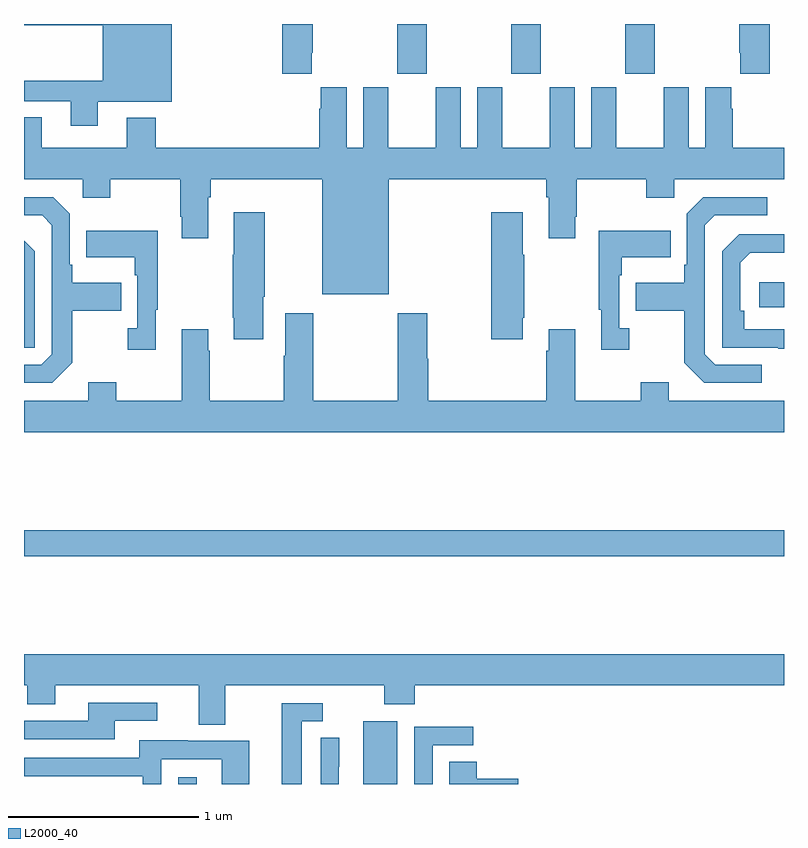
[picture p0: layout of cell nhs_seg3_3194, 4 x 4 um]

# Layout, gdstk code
import gdstk
lib = gdstk.Library(unit=1e-6, precision=1e-09)
def R(c, l, rs):  # rectangles x0, y0, x1, y1
    for r in rs: c.add(gdstk.rectangle(r[:2], r[2:], *l))
def A(c, l, x, y, w, h, nx, ny, dx, dy):  # array of equal rectangles
    R(c, l, [(x+i*dx, y+j*dy, x+i*dx+w, y+j*dy+h) for i in range(nx) for j in range(ny)])
def P(c, l, *ps):  # polygons
    for p in ps: c.add(gdstk.Polygon(p, *l))
L2000_40 = (2000, 40)

nhs_seg3_3194 = lib.new_cell('nhs_seg3_3194')
A(nhs_seg3_3194, L2000_40, 278.965, 700.137, 0.155, 0.263, 3, 1, 0.6, 0)
R(nhs_seg3_3194, L2000_40, [(277.812,696.4,277.909,696.436), (278.786,696.4,278.965,696.73), (277,697.6,281,697.736), (280.869,698.91,281,699.04)])
P(nhs_seg3_3194, L2000_40, [(277.387,699.992),(277.777,699.992),(277.777,700.4),(277,700.4),(277,700.394),(277.415,700.394),(277.415,700.102),(277,700.102),(277,699.993),(277.247,699.993),(277.247,699.864),(277.387,699.864)],
  [(278.515,700.249),(278.52,700.249),(278.52,700.4),(278.36,700.4),(278.36,700.137),(278.515,700.137)],
  [(280.925,700.4),(280.765,700.4),(280.765,700.249),(280.769,700.249),(280.769,700.137),(280.925,700.137)],
  [(278.92,699.584),(279.749,699.584),(279.749,699.488),(279.761,699.488),(279.761,699.273),(279.901,699.273),(279.901,699.385),(279.909,699.385),(279.909,699.584),(280.276,699.584),(280.276,699.485),(280.422,699.485),(280.422,699.584),(281,699.584),(281,699.748),(280.73,699.748),(280.73,699.953),(280.723,699.953),(280.723,700.066),(280.586,700.066),(280.586,699.748),(280.498,699.748),(280.498,700.066),(280.367,700.066),(280.367,699.748),(280.117,699.748),(280.117,700.066),(279.986,700.066),(279.986,699.748),(279.898,699.748),(279.898,700.066),(279.767,700.066),(279.767,699.748),(279.517,699.748),(279.517,700.066),(279.386,700.066),(279.386,699.748),(279.298,699.748),(279.298,700.066),(279.167,700.066),(279.167,699.748),(278.917,699.748),(278.917,700.066),(278.786,700.066),(278.786,699.748),(278.698,699.748),(278.698,700.066),(278.561,700.066),(278.561,699.953),(278.555,699.953),(278.555,699.748),(277.694,699.748),(277.694,699.907),(277.541,699.907),(277.541,699.748),(277.093,699.748),(277.093,699.908),(277,699.908),(277,699.584),(277.308,699.584),(277.308,699.485),(277.455,699.485),(277.455,699.584),(277.822,699.584),(277.822,699.385),(277.829,699.385),(277.829,699.273),(277.969,699.273),(277.969,699.488),(277.982,699.488),(277.982,699.584),(278.57,699.584),(278.57,698.978),(278.92,698.978)],
  [(280.882,698.607),(280.638,698.607),(280.584,698.661),(280.584,699.342),(280.635,699.393),(280.912,699.393),(280.912,699.489),(280.575,699.489),(280.488,699.402),(280.488,699.133),(280.476,699.133),(280.476,699.037),(280.219,699.037),(280.219,698.89),(280.476,698.89),(280.476,698.617),(280.581,698.511),(280.882,698.511)],
  [(277.255,698.617),(277.255,698.89),(277.511,698.89),(277.511,699.037),(277.255,699.037),(277.255,699.133),(277.242,699.133),(277.242,699.402),(277.155,699.489),(277,699.489),(277,699.393),(277.095,699.393),(277.146,699.342),(277.146,698.661),(277.092,698.607),(277,698.607),(277,698.511),(277.149,698.511)],
  [(278.26,698.965),(278.268,698.965),(278.268,699.409),(278.105,699.409),(278.105,699.185),(278.098,699.185),(278.098,698.854),(278.105,698.854),(278.105,698.742),(278.26,698.742)],
  [(279.625,698.854),(279.633,698.854),(279.633,699.185),(279.625,699.185),(279.625,699.409),(279.458,699.409),(279.458,698.742),(279.625,698.742)],
  [(280.186,698.798),(280.134,698.798),(280.134,699.077),(280.147,699.077),(280.147,699.173),(280.403,699.173),(280.403,699.313),(280.026,699.313),(280.026,698.897),(280.037,698.897),(280.037,698.685),(280.186,698.685)],
  [(277.693,698.897),(277.705,698.897),(277.705,699.313),(277.327,699.313),(277.327,699.173),(277.584,699.173),(277.584,699.077),(277.596,699.077),(277.596,698.798),(277.545,698.798),(277.545,698.685),(277.693,698.685)],
  [(281,698.793),(280.79,698.793),(280.79,698.89),(280.77,698.89),(280.77,699.144),(280.823,699.197),(281,699.197),(281,699.294),(280.764,699.294),(280.674,699.204),(280.674,698.697),(280.969,698.697),(280.969,698.692),(281,698.692)],
  [(277.056,699.204),(277,699.26),(277,698.697),(277.056,698.697)],
  [(281,698.416),(280.393,698.416),(280.393,698.515),(280.246,698.515),(280.246,698.416),(279.901,698.416),(279.901,698.794),(279.761,698.794),(279.761,698.681),(279.749,698.681),(279.749,698.416),(279.128,698.416),(279.128,698.639),(279.123,698.639),(279.123,698.878),(278.968,698.878),(278.968,698.416),(278.523,698.416),(278.523,698.878),(278.375,698.878),(278.375,698.654),(278.368,698.654),(278.368,698.416),(277.977,698.416),(277.977,698.681),(277.969,698.681),(277.969,698.794),(277.829,698.794),(277.829,698.416),(277.485,698.416),(277.485,698.515),(277.337,698.515),(277.337,698.416),(277,698.416),(277,698.252),(281,698.252)],
  [(278.059,696.92),(278.896,696.92),(278.896,696.821),(279.056,696.821),(279.056,696.92),(281,696.92),(281,697.084),(277,697.084),(277,696.92),(277.018,696.92),(277.018,696.821),(277.165,696.821),(277.165,696.92),(277.919,696.92),(277.919,696.712),(278.059,696.712)],
  [(277.477,696.732),(277.702,696.732),(277.702,696.828),(277.337,696.828),(277.337,696.732),(277,696.732),(277,696.636),(277.477,696.636)],
  [(278.461,696.729),(278.572,696.729),(278.572,696.825),(278.357,696.825),(278.357,696.4),(278.461,696.4)],
  [(279.15,696.603),(279.364,696.603),(279.364,696.702),(279.054,696.702),(279.054,696.4),(279.15,696.4)],
  [(278.657,696.49),(278.658,696.49),(278.658,696.644),(278.562,696.644),(278.562,696.4),(278.657,696.4)],
  [(277.722,696.531),(278.04,696.531),(278.04,696.4),(278.185,696.4),(278.185,696.627),(277.861,696.627),(277.861,696.631),(277.607,696.631),(277.607,696.537),(277,696.537),(277,696.441),(277.626,696.441),(277.626,696.4),(277.722,696.4)],
  [(279.601,696.428),(279.383,696.428),(279.383,696.518),(279.239,696.518),(279.239,696.4),(279.601,696.4)])

lib.write_gds('nhs_seg3_3194.gds')
